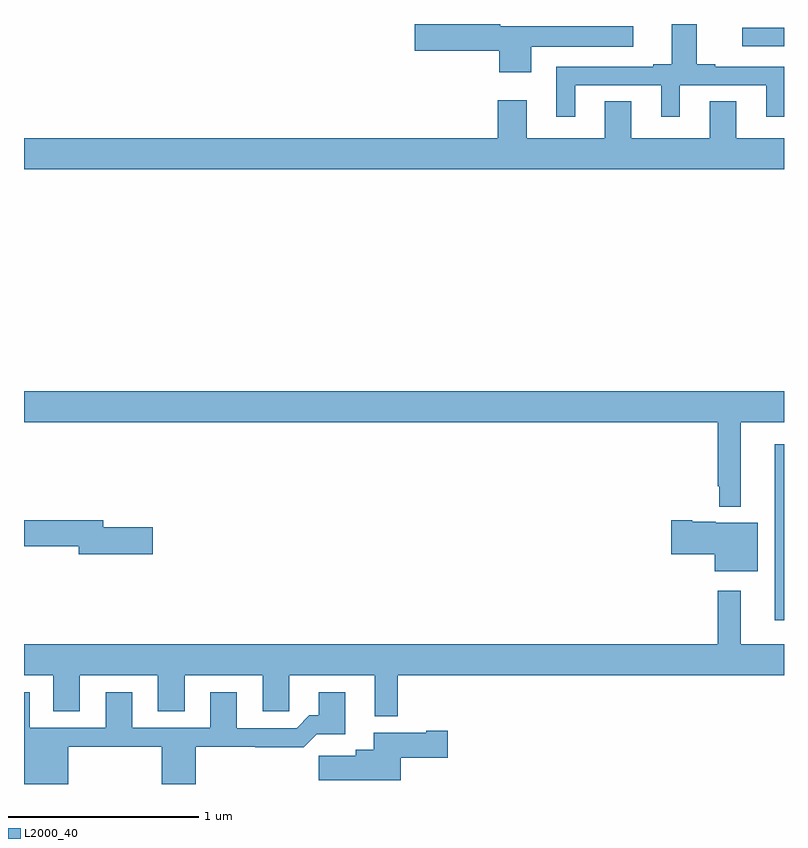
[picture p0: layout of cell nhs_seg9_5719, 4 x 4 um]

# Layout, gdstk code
import gdstk
lib = gdstk.Library(unit=1e-6, precision=1e-09)
def R(c, l, rs):  # rectangles x0, y0, x1, y1
    for r in rs: c.add(gdstk.rectangle(r[:2], r[2:], *l))
def P(c, l, *ps):  # polygons
    for p in ps: c.add(gdstk.Polygon(p, *l))
L2000_40 = (2000, 40)

nhs_seg9_5719 = lib.new_cell('nhs_seg9_5719')
R(nhs_seg9_5719, L2000_40, [(446.951,1211.361,447,1212.289), (446.781,1214.382,447,1214.479)])
P(nhs_seg9_5719, L2000_40, [(445.9,1214.178),(446.354,1214.178),(446.354,1214.013),(446.452,1214.013),(446.452,1214.178),(446.906,1214.178),(446.906,1214.013),(447,1214.013),(447,1214.274),(446.638,1214.274),(446.638,1214.287),(446.542,1214.287),(446.542,1214.5),(446.408,1214.5),(446.408,1214.287),(446.312,1214.287),(446.312,1214.274),(445.802,1214.274),(445.802,1214.013),(445.9,1214.013)],
  [(445.669,1214.381),(446.206,1214.381),(446.206,1214.488),(445.506,1214.488),(445.506,1214.5),(445.056,1214.5),(445.056,1214.359),(445.502,1214.359),(445.502,1214.247),(445.669,1214.247)],
  [(447,1213.9),(446.749,1213.9),(446.749,1214.093),(446.609,1214.093),(446.609,1213.9),(446.197,1213.9),(446.197,1214.093),(446.057,1214.093),(446.057,1213.9),(445.645,1213.9),(445.645,1214.098),(445.493,1214.098),(445.493,1213.9),(443,1213.9),(443,1213.736),(447,1213.736)],
  [(446.773,1212.404),(447,1212.404),(447,1212.568),(443,1212.568),(443,1212.404),(446.652,1212.404),(446.652,1212.067),(446.659,1212.067),(446.659,1211.96),(446.773,1211.96)],
  [(446.863,1211.875),(446.64,1211.875),(446.64,1211.881),(446.518,1211.881),(446.518,1211.888),(446.406,1211.888),(446.406,1211.71),(446.636,1211.71),(446.636,1211.621),(446.863,1211.621)],
  [(443.677,1211.852),(443.416,1211.852),(443.416,1211.888),(443,1211.888),(443,1211.752),(443.288,1211.752),(443.288,1211.71),(443.677,1211.71)],
  [(444.967,1211.072),(447,1211.072),(447,1211.236),(446.773,1211.236),(446.773,1211.518),(446.652,1211.518),(446.652,1211.236),(443,1211.236),(443,1211.072),(443.153,1211.072),(443.153,1210.882),(443.293,1210.882),(443.293,1211.072),(443.705,1211.072),(443.705,1210.882),(443.845,1210.882),(443.845,1211.072),(444.257,1211.072),(444.257,1210.882),(444.396,1210.882),(444.396,1211.072),(444.845,1211.072),(444.845,1210.856),(444.967,1210.856)],
  [(443.233,1210.696),(443.725,1210.696),(443.725,1210.5),(443.903,1210.5),(443.903,1210.696),(444.217,1210.696),(444.217,1210.694),(444.473,1210.694),(444.542,1210.763),(444.691,1210.763),(444.691,1210.984),(444.551,1210.984),(444.551,1210.861),(444.502,1210.861),(444.435,1210.794),(444.121,1210.794),(444.121,1210.984),(443.981,1210.984),(443.981,1210.797),(443.569,1210.797),(443.569,1210.984),(443.429,1210.984),(443.429,1210.797),(443.029,1210.797),(443.029,1210.984),(443,1210.984),(443,1210.5),(443.233,1210.5)],
  [(444.982,1210.637),(445.231,1210.637),(445.231,1210.779),(445.118,1210.779),(445.118,1210.771),(444.842,1210.771),(444.842,1210.681),(444.746,1210.681),(444.746,1210.649),(444.552,1210.649),(444.552,1210.52),(444.982,1210.52)])

lib.write_gds('nhs_seg9_5719.gds')
